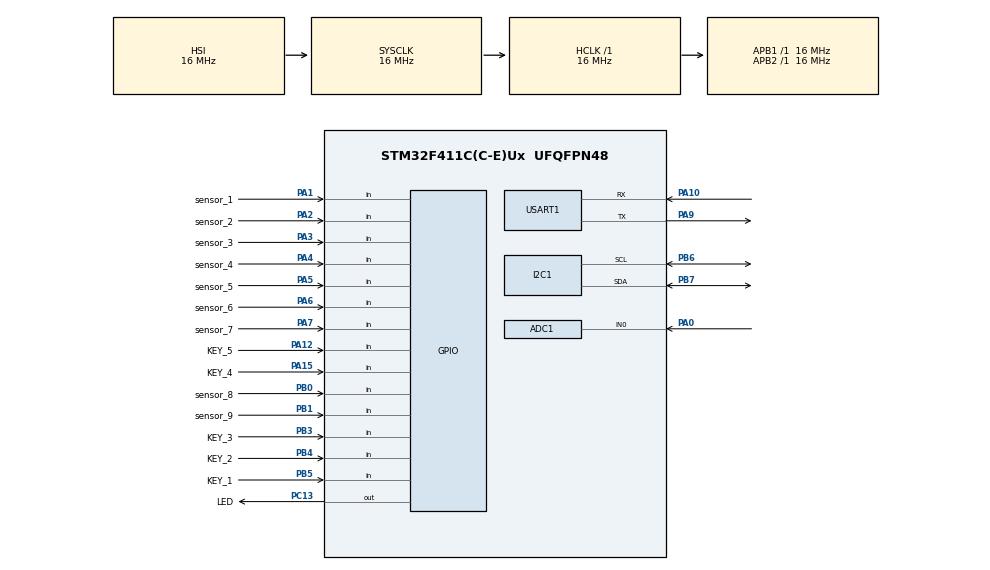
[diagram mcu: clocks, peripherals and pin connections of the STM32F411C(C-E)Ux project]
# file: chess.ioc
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ADC1.Channel-2\#ChannelRegularConversion=ADC_CHANNEL_0
ADC1.NbrOfConversionFlag=1
ADC1.Rank-2\#ChannelRegularConversion=1
ADC1.SamplingTime-2\#ChannelRegularConversion=ADC_SAMPLETIME_3CYCLES
ADC1.master=1
FREERTOS.BinarySemaphores01=LEDBinarySem,Dynamic,NULL,Available
FREERTOS.Mutexes01=oledMutex,Dynamic,NULL,Available
FREERTOS.Queues01=keyEventQueue,1,KeyEvent_t,0,Dynamic,NULL,NULL
FREERTOS.Tasks01=Task_State,28,256,StartState,Default,NULL,Dynamic,NULL,NULL;Task_SensorScan,27,256,StartSensorScan,Default,NULL,Dynamic,NULL,NULL;Task_AILogic,29,512,StartAILogic,Default,NULL,Dynamic,NULL,NULL;Task_ArmControl,26,256,StartArmControl,Default,NULL,Dynamic,NULL,NULL;Task_UI,17,256,StartUI,Default,NULL,Dynamic,NULL,NULL;Task_ReadKEY,17,256,StartReadKEY,Default,NULL,Dynamic,NULL,NULL;DebugTask,40,512,StartDebugTask,Default,NULL,Dynamic,NULL,NULL
Mcu.Family=STM32F4
Mcu.Name=STM32F411C(C-E)Ux
Mcu.Package=UFQFPN48
NVIC.PriorityGroup=NVIC_PRIORITYGROUP_4
NVIC.TIM1_TRG_COM_TIM11_IRQn=true\:15\:0\:false\:false\:true\:false\:false\:true\:true
NVIC.TimeBase=TIM1_TRG_COM_TIM11_IRQn
NVIC.TimeBaseIP=TIM11
PA0-WKUP.Signal=ADCx_IN0
PA1.GPIO_Label=sensor_1
PA1.GPIO_PuPd=GPIO_PULLUP
PA1.Signal=GPIO_Input
PA10.Mode=Asynchronous
PA10.Signal=USART1_RX
PA12.GPIO_Label=KEY_5
PA12.GPIO_PuPd=GPIO_PULLUP
PA12.Signal=GPIO_Input
PA13.Mode=Serial_Wire
PA13.Signal=SYS_JTMS-SWDIO
PA14.Mode=Serial_Wire
PA14.Signal=SYS_JTCK-SWCLK
PA15.GPIO_Label=KEY_4
PA15.GPIO_PuPd=GPIO_PULLUP
PA15.Signal=GPIO_Input
PA2.GPIO_Label=sensor_2
PA2.GPIO_PuPd=GPIO_PULLUP
PA2.Signal=GPIO_Input
PA3.GPIO_Label=sensor_3
PA3.GPIO_PuPd=GPIO_PULLUP
PA3.Signal=GPIO_Input
PA4.GPIO_Label=sensor_4
PA4.GPIO_PuPd=GPIO_PULLUP
PA4.Signal=GPIO_Input
PA5.GPIO_Label=sensor_5
PA5.GPIO_PuPd=GPIO_PULLUP
PA5.Signal=GPIO_Input
PA6.GPIO_Label=sensor_6
PA6.GPIO_PuPd=GPIO_PULLUP
PA6.Signal=GPIO_Input
PA7.GPIO_Label=sensor_7
PA7.GPIO_PuPd=GPIO_PULLUP
PA7.Signal=GPIO_Input
PA9.Mode=Asynchronous
PA9.Signal=USART1_TX
PB0.GPIO_Label=sensor_8
PB0.GPIO_PuPd=GPIO_PULLUP
PB0.Signal=GPIO_Input
PB1.GPIO_Label=sensor_9
PB1.GPIO_PuPd=GPIO_PULLUP
PB1.Signal=GPIO_Input
PB3.GPIO_Label=KEY_3
PB3.GPIO_PuPd=GPIO_PULLUP
PB3.Signal=GPIO_Input
PB4.GPIO_Label=KEY_2
PB4.GPIO_PuPd=GPIO_PULLUP
PB4.Signal=GPIO_Input
PB5.GPIO_Label=KEY_1
PB5.GPIO_PuPd=GPIO_PULLUP
PB5.Signal=GPIO_Input
PB6.Mode=I2C
PB6.Signal=I2C1_SCL
PB7.Mode=I2C
PB7.Signal=I2C1_SDA
PC13-ANTI_TAMP.GPIO_Label=LED
PC13-ANTI_TAMP.Signal=GPIO_Output
ProjectManager.HeapSize=0x200
ProjectManager.StackSize=0x400
ProjectManager.TargetToolchain=STM32CubeIDE
RCC.AHBFreq_Value=16000000
RCC.APB1Freq_Value=16000000
RCC.APB2Freq_Value=16000000
RCC.CortexFreq_Value=16000000
RCC.HSE_VALUE=25000000
RCC.HSI_VALUE=16000000
RCC.LSE_VALUE=32768
RCC.SYSCLKFreq_VALUE=16000000
RCC.VCOOutputFreq_Value=192000000
SH.ADCx_IN0.0=ADC1_IN0,IN0
USART1.VirtualMode=VM_ASYNC
VP_FREERTOS_VS_CMSIS_V2.Mode=CMSIS_V2
VP_SYS_VS_tim11.Mode=TIM11
board=custom

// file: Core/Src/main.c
/* USER CODE BEGIN Header */
/**
 ******************************************************************************
 * @file           : main.c
 * @brief          : Main program body
 ******************************************************************************
 * @attention
 *
 * Copyright (c) 2026 STMicroelectronics.
 * All rights reserved.
 *
 * This software is licensed under terms that can be found in the LICENSE file
 * in the root directory of this software component.
 * If no LICENSE file comes with this software, it is provided AS-IS.
 *
 ******************************************************************************
 */
/* USER CODE END Header */
#include "main.h"
#include "cmsis_os.h"

/* USER CODE BEGIN Includes */

#include <stdio.h>
#include <stdlib.h>
#include <string.h>

#include "adc_angle.h"
#include "chess_ai.h"
#include "key.h"
#include "oled.h"
#include "sensors.h"
#include "ui.h"
// #include "game_core.h"
#include "state.h"

#include "game_types.h"
/* USER CODE END Includes */

/* USER CODE BEGIN PTD */
uint8_t sensors_Text[9]; // 传感器数据
uint8_t board_End[9];    // 传感器数据
uint8_t sensors[9];      // 传感器数据
/* USER CODE END PTD */

/* USER CODE BEGIN PD */
AppState_t current_state = STATE_MAIN_MENU;
GameCtrl_t chessgame;
UIOptions_t ui_options;
/* USER CODE END PD */

ADC_HandleTypeDef hadc1;

I2C_HandleTypeDef hi2c1;

UART_HandleTypeDef huart1;

/* Definitions for Task_State */
osThreadId_t Task_StateHandle;
const osThreadAttr_t Task_State_attributes = {
    .name = "Task_State",
    .stack_size = 256 * 4,
    .priority = (osPriority_t)osPriorityNormal4,
};
/* Definitions for Task_SensorScan */
osThreadId_t Task_SensorScanHandle;
const osThreadAttr_t Task_SensorScan_attributes = {
    .name = "Task_SensorScan",
    .stack_size = 256 * 4,
    .priority = (osPriority_t)osPriorityNormal3,
};
/* Definitions for Task_AILogic */
osThreadId_t Task_AILogicHandle;
const osThreadAttr_t Task_AILogic_attributes = {
    .name = "Task_AILogic",
    .stack_size = 512 * 4,
    .priority = (osPriority_t)osPriorityNormal5,
};
/* Definitions for Task_ArmControl */
osThreadId_t Task_ArmControlHandle;
const osThreadAttr_t Task_ArmControl_attributes = {
    .name = "Task_ArmControl",
    .stack_size = 256 * 4,
    .priority = (osPriority_t)osPriorityNormal2,
};
/* Definitions for Task_UI */
osThreadId_t Task_UIHandle;
const osThreadAttr_t Task_UI_attributes = {
    .name = "Task_UI",
    .stack_size = 256 * 4,
    .priority = (osPriority_t)osPriorityBelowNormal1,
};
/* Definitions for Task_ReadKEY */
osThreadId_t Task_ReadKEYHandle;
const osThreadAttr_t Task_ReadKEY_attributes = {
    .name = "Task_ReadKEY",
    .stack_size = 256 * 4,
    .priority = (osPriority_t)osPriorityBelowNormal1,
};
/* Definitions for DebugTask */
osThreadId_t DebugTaskHandle;
const osThreadAttr_t DebugTask_attributes = {
    .name = "DebugTask",
    .stack_size = 512 * 4,
    .priority = (osPriority_t)osPriorityHigh,
};
/* Definitions for keyEventQueue */
osMessageQueueId_t keyEventQueueHandle;
const osMessageQueueAttr_t keyEventQueue_attributes = {
    .name = "keyEventQueue"};
/* Definitions for oledMutex */
osMutexId_t oledMutexHandle;
const osMutexAttr_t oledMutex_attributes = {
    .name = "oledMutex"};
/* Definitions for LEDBinarySem */
osSemaphoreId_t LEDBinarySemHandle;
const osSemaphoreAttr_t LEDBinarySem_attributes = {
    .name = "LEDBinarySem"};

void SystemClock_Config(void);
static void MX_GPIO_Init(void);
static void MX_I2C1_Init(void);
static void MX_USART1_UART_Init(void);
static void MX_ADC1_Init(void);
void StartState(void *argument);
void StartSensorScan(void *argument);
void StartAILogic(void *argument);
void StartArmControl(void *argument);
void StartUI(void *argument);
void StartReadKEY(void *argument);
void StartDebugTask(void *argument);

int main(void)
{

    /* MCU Configuration--------------------------------------------------------*/

    /* Reset of all peripherals, Initializes the Flash interface and the Systick. */
    HAL_Init();

    /* Configure the system clock */
    SystemClock_Config();

    /* Initialize all configured peripherals */
    MX_GPIO_Init();
    MX_I2C1_Init();
    MX_USART1_UART_Init();
    MX_ADC1_Init();
    /* USER CODE BEGIN 2 */
    OLED_Init();
    // OLED_Update();

    OLED_ShowString(0, 0, "Hello World!", OLED_8X16); // 左上角开始显示
    OLED_Update();

    /* USER CODE END 2 */

    /* Init scheduler */
    osKernelInitialize();
    /* Create the mutex(es) */
    /* creation of oledMutex */
    oledMutexHandle = osMutexNew(&oledMutex_attributes);

    /* Create the semaphores(s) */
    /* creation of LEDBinarySem */
    LEDBinarySemHandle = osSemaphoreNew(1, 1, &LEDBinarySem_attributes);

    /* Create the queue(s) */
    /* creation of keyEventQueue */
    keyEventQueueHandle = osMessageQueueNew(1, sizeof(KeyEvent_t), &keyEventQueue_attributes);

    /* Create the thread(s) */
    /* creation of Task_State */
    Task_StateHandle = osThreadNew(StartState, NULL, &Task_State_attributes);

    /* creation of Task_SensorScan */
    Task_SensorScanHandle = osThreadNew(StartSensorScan, NULL, &Task_SensorScan_attributes);

    /* creation of Task_AILogic */
    Task_AILogicHandle = osThreadNew(StartAILogic, NULL, &Task_AILogic_attributes);

    /* creation of Task_ArmControl */
    Task_ArmControlHandle = osThreadNew(StartArmControl, NULL, &Task_ArmControl_attributes);

    /* creation of Task_UI */
    Task_UIHandle = osThreadNew(StartUI, NULL, &Task_UI_attributes);

    /* creation of Task_ReadKEY */
    Task_ReadKEYHandle = osThreadNew(StartReadKEY, NULL, &Task_ReadKEY_attributes);

    /* creation of DebugTask */
    DebugTaskHandle = osThreadNew(StartDebugTask, NULL, &DebugTask_attributes);

    /* Start scheduler */
    osKernelStart();

    /* We should never get here as control is now taken by the scheduler */

    /* Infinite loop */
    while (1)
    {

    }
}

void SystemClock_Config(void)
{
    RCC_OscInitTypeDef RCC_OscInitStruct = {0};
    RCC_ClkInitTypeDef RCC_ClkInitStruct = {0};

    /** Configure the main internal regulator output voltage
     */
    __HAL_RCC_PWR_CLK_ENABLE();
    __HAL_PWR_VOLTAGESCALING_CONFIG(PWR_REGULATOR_VOLTAGE_SCALE1);

    /** Initializes the RCC Oscillators according to the specified parameters
     * in the RCC_OscInitTypeDef structure.
     */
    RCC_OscInitStruct.OscillatorType = RCC_OSCILLATORTYPE_HSI;
    RCC_OscInitStruct.HSIState = RCC_HSI_ON;
    RCC_OscInitStruct.HSICalibrationValue = RCC_HSICALIBRATION_DEFAULT;
    RCC_OscInitStruct.PLL.PLLState = RCC_PLL_NONE;
    if (HAL_RCC_OscConfig(&RCC_OscInitStruct) != HAL_OK)
    {
        Error_Handler();
    }

    /** Initializes the CPU, AHB and APB buses clocks
     */
    RCC_ClkInitStruct.ClockType = RCC_CLOCKTYPE_HCLK | RCC_CLOCKTYPE_SYSCLK | RCC_CLOCKTYPE_PCLK1 | RCC_CLOCKTYPE_PCLK2;
    RCC_ClkInitStruct.SYSCLKSource = RCC_SYSCLKSOURCE_HSI;
    RCC_ClkInitStruct.AHBCLKDivider = RCC_SYSCLK_DIV1;
    RCC_ClkInitStruct.APB1CLKDivider = RCC_HCLK_DIV1;
    RCC_ClkInitStruct.APB2CLKDivider = RCC_HCLK_DIV1;

    if (HAL_RCC_ClockConfig(&RCC_ClkInitStruct, FLASH_LATENCY_0) != HAL_OK)
    {
        Error_Handler();
    }
}

static void MX_ADC1_Init(void)
{

    ADC_ChannelConfTypeDef sConfig = {0};

    /** Configure the global features of the ADC (Clock, Resolution, Data Alignment and number of conversion)
     */
    hadc1.Instance = ADC1;
    hadc1.Init.ClockPrescaler = ADC_CLOCK_SYNC_PCLK_DIV2;
    hadc1.Init.Resolution = ADC_RESOLUTION_12B;
    hadc1.Init.ScanConvMode = DISABLE;
    hadc1.Init.ContinuousConvMode = DISABLE;
    hadc1.Init.DiscontinuousConvMode = DISABLE;
    hadc1.Init.ExternalTrigConvEdge = ADC_EXTERNALTRIGCONVEDGE_NONE;
    hadc1.Init.ExternalTrigConv = ADC_SOFTWARE_START;
    hadc1.Init.DataAlign = ADC_DATAALIGN_RIGHT;
    hadc1.Init.NbrOfConversion = 1;
    hadc1.Init.DMAContinuousRequests = DISABLE;
    hadc1.Init.EOCSelection = ADC_EOC_SINGLE_CONV;
    if (HAL_ADC_Init(&hadc1) != HAL_OK)
    {
        Error_Handler();
    }

    /** Configure for the selected ADC regular channel its corresponding rank in the sequencer and its sample time.
     */
    sConfig.Channel = ADC_CHANNEL_0;
    sConfig.Rank = 1;
    sConfig.SamplingTime = ADC_SAMPLETIME_3CYCLES;
    if (HAL_ADC_ConfigChannel(&hadc1, &sConfig) != HAL_OK)
    {
        Error_Handler();
    }
}

static void MX_I2C1_Init(void)
{

    hi2c1.Instance = I2C1;
    hi2c1.Init.ClockSpeed = 100000;
    hi2c1.Init.DutyCycle = I2C_DUTYCYCLE_2;
    hi2c1.Init.OwnAddress1 = 0;
    hi2c1.Init.AddressingMode = I2C_ADDRESSINGMODE_7BIT;
    hi2c1.Init.DualAddressMode = I2C_DUALADDRESS_DISABLE;
    hi2c1.Init.OwnAddress2 = 0;
    hi2c1.Init.GeneralCallMode = I2C_GENERALCALL_DISABLE;
    hi2c1.Init.NoStretchMode = I2C_NOSTRETCH_DISABLE;
    if (HAL_I2C_Init(&hi2c1) != HAL_OK)
    {
        Error_Handler();
    }
}

static void MX_USART1_UART_Init(void)
{

    huart1.Instance = USART1;
    huart1.Init.BaudRate = 115200;
    huart1.Init.WordLength = UART_WORDLENGTH_8B;
    huart1.Init.StopBits = UART_STOPBITS_1;
    huart1.Init.Parity = UART_PARITY_NONE;
    huart1.Init.Mode = UART_MODE_TX_RX;
    huart1.Init.HwFlowCtl = UART_HWCONTROL_NONE;
    huart1.Init.OverSampling = UART_OVERSAMPLING_16;
    if (HAL_UART_Init(&huart1) != HAL_OK)
    {
        Error_Handler();
    }
}

static void MX_GPIO_Init(void)
{
    GPIO_InitTypeDef GPIO_InitStruct = {0};

    /* GPIO Ports Clock Enable */
    __HAL_RCC_GPIOC_CLK_ENABLE();
    __HAL_RCC_GPIOA_CLK_ENABLE();
    __HAL_RCC_GPIOB_CLK_ENABLE();

    /*Configure GPIO pin Output Level */
    HAL_GPIO_WritePin(LED_GPIO_Port, LED_Pin, GPIO_PIN_RESET);

    /*Configure GPIO pin : LED_Pin */
    GPIO_InitStruct.Pin = LED_Pin;
    GPIO_InitStruct.Mode = GPIO_MODE_OUTPUT_PP;
    GPIO_InitStruct.Pull = GPIO_NOPULL;
    GPIO_InitStruct.Speed = GPIO_SPEED_FREQ_LOW;
    HAL_GPIO_Init(LED_GPIO_Port, &GPIO_InitStruct);

    /*Configure GPIO pins : sensor_1_Pin sensor_2_Pin sensor_3_Pin sensor_4_Pin
                             sensor_5_Pin sensor_6_Pin sensor_7_Pin KEY_5_Pin
                             KEY_4_Pin */
    GPIO_InitStruct.Pin = sensor_1_Pin | sensor_2_Pin | sensor_3_Pin | sensor_4_Pin | sensor_5_Pin | sensor_6_Pin | sensor_7_Pin | KEY_5_Pin | KEY_4_Pin;
    GPIO_InitStruct.Mode = GPIO_MODE_INPUT;
    GPIO_InitStruct.Pull = GPIO_PULLUP;
    HAL_GPIO_Init(GPIOA, &GPIO_InitStruct);

    /*Configure GPIO pins : sensor_8_Pin sensor_9_Pin KEY_3_Pin KEY_2_Pin
                             KEY_1_Pin */
    GPIO_InitStruct.Pin = sensor_8_Pin | sensor_9_Pin | KEY_3_Pin | KEY_2_Pin | KEY_1_Pin;
    GPIO_InitStruct.Mode = GPIO_MODE_INPUT;
    GPIO_InitStruct.Pull = GPIO_PULLUP;
    HAL_GPIO_Init(GPIOB, &GPIO_InitStruct);

}

void StartState(void *argument)
{
    /* USER CODE BEGIN 5 */
    KeyEvent_t key_evt;
    uint32_t flags;

    for (;;)
    {
        // ===== 处理任务通知（AI完成） =====
        flags = osThreadFlagsWait(FLAG_AI_DONE, osFlagsWaitAny, 0);
        if (flags & FLAG_AI_DONE)
        {
            if (chessgame.game_result != RESULT_ONGOING)
                SetState(STATE_GAME_OVER);
            else
                SetState(STATE_PLAYER_MOVE); // 玩家真实回合
        }

        // ===== 处理按键事件 =====
        if (osMessageQueueGet(keyEventQueueHandle, &key_evt, NULL, 10) == osOK)
        {
            switch (current_state)
            {
            case STATE_MAIN_MENU:
                HandleMainMenu(key_evt);
                break;

            case STATE_COLOR_SELECT:
                HandleSelectColor(key_evt);
                break;

            case STATE_PLACE_SELECT:
                HandlePlaceMove(key_evt);
                break;

            case STATE_SELECT_FIRST:
                HandleSelectFirst(key_evt);
                break;

            case STATE_PLAYER_MOVE:
                HandlePlayerMove(key_evt);
                break;

            case STATE_GAME_OVER:
                HandleGameOver(key_evt);
                break;

            case STATE_AI_THINK:
                // AI思考时忽略按键
                break;

            default:
                break;
            }
        }

        osDelay(10);
    }
    /* USER CODE END 5 */
}

void StartSensorScan(void *argument)
{
    /* USER CODE BEGIN StartSensorScan */
    // uint32_t flags;

    for (;;)
    {
        read_sensors(sensors_Text);
        osDelay(300);
        //     // 1. 阻塞等待任何通知（默认阻塞态）
        //     flags = osThreadFlagsWait(FLAG_START_SCAN | FLAG_STOP_SCAN, osFlagsWaitAny, osWaitForever);

        //     if (flags & FLAG_START_SCAN)
        //     {
        //         read_sensors(sensors_Text);
        //         while (1)
        //         {
        //             // 等待 300ms，同时监听停止标志（非阻塞等待，超时300ms）
        //             flags = osThreadFlagsWait(FLAG_STOP_SCAN, osFlagsWaitAny, 300);

        //             if (flags & FLAG_STOP_SCAN)
        //             {
        //                 // settlement_function();   // 你的结算函数
        //                 break;                  // 退出采样循环，回到外层阻塞态
        //             }
        //             else
        //             {
        //                 read_sensors(sensors);   // 超时（300ms内无停止标志）：执行一次周期性采样
        //             }
        //         }
        //     }
        //     else if (flags & FLAG_STOP_SCAN)
        //     {
        //         continue;
        //     }
    }
    /* USER CODE END StartSensorScan */
}

void StartAILogic(void *argument)
{
    /* USER CODE BEGIN StartAILogic */
    uint32_t flags;
    /* Infinite loop */
    for (;;)
    {
        // 使用任务通知等待AI开始指令
        flags = osThreadFlagsWait(FLAG_AI_START, osFlagsWaitAny, osWaitForever);

        if ((flags & FLAG_AI_START) && current_state == STATE_AI_THINK && chessgame.game_mode == GAME_MODE_PLAY)
        {
            int move = AI_GetBestMove(chessgame.board, chessgame.ai_color);

            if (move >= 0)
            {
                chessgame.board[move] = chessgame.ai_color;
                chessgame.cursor_pos = move;
                osDelay(3000); // 模拟AI思考时间
                chessgame.game_result = CheckGameResult(chessgame.board);
            }

            // 使用任务通知通知State任务AI完成
            osThreadFlagsSet(Task_StateHandle, FLAG_AI_DONE);
        }
        if ((flags & FLAG_AI_START) && current_state == STATE_AI_THINK && chessgame.game_mode == GAME_MODE_TEXT)
        {
            int move = AI_GetBestMove(chessgame.board, chessgame.ai_color);

            if (move >= 0)
            {
                chessgame.board[move] = chessgame.ai_color;
                chessgame.cursor_pos = move;
                chessgame.game_result = CheckGameResult(chessgame.board);
            }

            // 使用任务通知通知State任务AI完成
            osThreadFlagsSet(Task_StateHandle, FLAG_AI_DONE);
        }
    }
    /* USER CODE END StartAILogic */
}

void StartArmControl(void *argument)
{
    for (;;)
    {
        osDelay(1);
    }
}

void StartUI(void *argument)
{
    /* USER CODE BEGIN StartUI */
    /* Infinite loop */
    for (;;)
    {
        if (osMutexAcquire(oledMutexHandle, 50) != osOK)
        {
            osDelay(10);
            continue;
        }

        OLED_Clear();

        switch (current_state)
        {
        case STATE_MAIN_MENU:
            DrawMainMenu(ui_options.main_option);
            break;

        case STATE_COLOR_SELECT:
            DrawColorSelectMenu(ui_options.color_option);
            break;

        case STATE_PLACE_SELECT:
            DrawGameBoard();
            break;

        case STATE_SELECT_FIRST:
            DrawSelectFirstMenu(ui_options.select_option);
            break;

        case STATE_GAME_OVER:
            DrawGameOver();
            break;

        case STATE_AI_THINK:
            DrawGameBoard();
            break;

        case STATE_PLAYER_MOVE:
            DrawGameBoard();
            break;

        default:
            break;
        }

        OLED_Update();
        osMutexRelease(oledMutexHandle);
        osDelay(50);
    }
    /* USER CODE END StartUI */
}

void StartReadKEY(void *argument)
{
    /* USER CODE BEGIN StartReadKEY */
    /* Infinite loop */
    for (;;)
    {
        Key_Scan();
        osDelay(10);
    }
    /* USER CODE END StartReadKEY */
}

void StartDebugTask(void *argument)
{
    /* USER CODE BEGIN StartDebugTask */
    char debug_buf[256];
    /* Infinite loop */
    for (;;)
    {
        int len = sprintf(debug_buf, "Board:\r\n");
        HAL_UART_Transmit(&huart1, (uint8_t *)debug_buf, len, 100);

        for (int row = 0; row < 3; row++)
        {
            for (int col = 0; col < 3; col++)
            {
                int pos = row * 3 + col;
                switch (chessgame.board[pos])
                {
                case EMPTY:
                    debug_buf[0] = '.';
                    break;
                case BLACK:
                    debug_buf[0] = 'X';
                    break;
                case WHITE:
                    debug_buf[0] = 'O';
                    break;
                default:
                    debug_buf[0] = '?';
                    break;
                }
                debug_buf[1] = ' ';
                HAL_UART_Transmit(&huart1, (uint8_t *)debug_buf, 2, 100);
            }
            HAL_UART_Transmit(&huart1, (uint8_t *)"\r\n", 2, 100);
        }
        HAL_UART_Transmit(&huart1, (uint8_t *)"\r\n", 2, 100);

        // 输出9个传感器值
        for (int i = 0; i < 9; i++)
        {
            len = sprintf(debug_buf, "s%d: %d ", i + 1, sensors_Text[i]);
            HAL_UART_Transmit(&huart1, (uint8_t *)debug_buf, len, 100);
        }
        HAL_UART_Transmit(&huart1, (uint8_t *)"\r\n", 2, 100);

        osDelay(3000);
    }
    /* USER CODE END StartDebugTask */
}

void HAL_TIM_PeriodElapsedCallback(TIM_HandleTypeDef *htim)
{
    if (htim->Instance == TIM11)
    {
        HAL_IncTick();
    }
}

void Error_Handler(void)
{
    __disable_irq();
    while (1)
    {
    }
}
